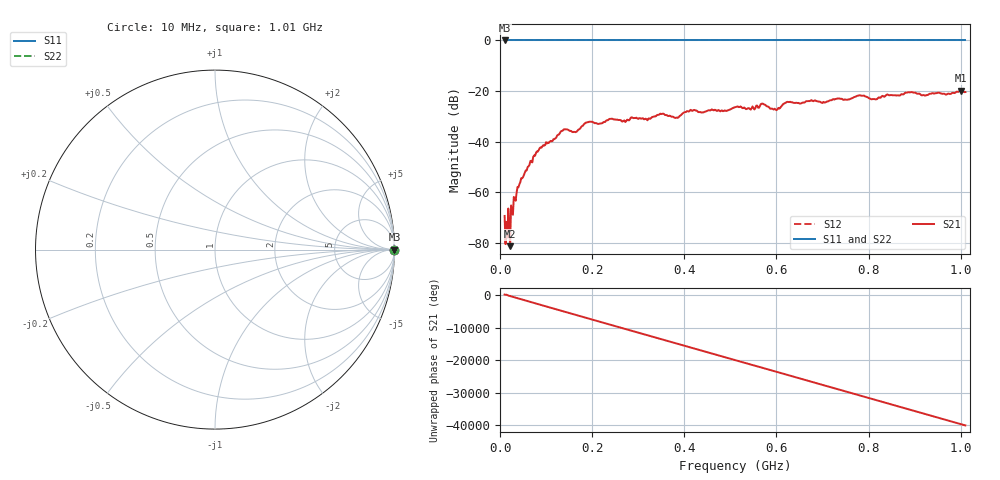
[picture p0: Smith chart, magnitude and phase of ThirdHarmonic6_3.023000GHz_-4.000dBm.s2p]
! 8/17/2025 8:42:14 AM
! C:\ANRITSUVNA\TEMP\TEMP.S2P
! CHANNEL.1
! TR.MEASUREMENT
! RAW.DATA
! RF.CORRECTION.OFF
! AVERAGING.OFF
! IF.BANDWIDTH: 5KHZ
! SWEEPTYPE:  FREQ.SWEEP(Linear)
! Reference Plane Port Info
! PORT:  PORT1  PORT2
! DISTANCE:  0  m  0  m
! TIME:  0  s  0  s
! PHASE.OFFSET:  0  deg.  0  deg.
! LOSS:  0  dB  0  dB
! REF.LOSS:  0  dB  0  dB
! REF.FREQ:  0  Hz  0  Hz
! Power Info
! POWER:  -20  dBm  -20  dBm
! EFF.POWER:  -20  dBm  -20  dBm
! SOURCE.ATTEN:  0  dB  0  dB
! TEST.ATTEN:  0  dB  0  dB
# GHZ S RI R 50.0
! FREQ.GHZ  S11RE  S11IM  S21RE  S21IM  S12RE  S12IM  S22RE  S22IM
!; PortSelection: Port_12
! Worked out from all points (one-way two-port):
!   501 points, 10 MHz to 1.01 GHz, reference 50 ohm
!   highest |S21| = -19.81 dB at 1 GHz (marker M1); lowest = -81.2 dB at 22 MHz (marker M2)
!   lowest |S11| = 0.0 dB at 10 MHz (marker M3)
!   |S11| at or under -10 dB: nowhere
!   |S22| runs from 0.0 to 0.0 dB; largest |S21 - S12| = 1.1
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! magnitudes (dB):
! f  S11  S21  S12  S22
! 10 MHz  0.0  -69.3  0.0  0.0
! 18 MHz  0.0  -66.4  0.0  0.0
! 22 MHz  0.0  -81.2  0.0  0.0
! 24 MHz  0.0  -65.2  0.0  0.0
! 28 MHz  0.0  -68.8  0.0  0.0
! 42 MHz  0.0  -56.8  0.0  0.0
! 82 MHz  0.0  -43.9  0.0  0.0
! 136 MHz  0.0  -35.7  0.0  0.0
! 162 MHz  0.0  -36.1  0.0  0.0
! 178 MHz  0.0  -33.8  0.0  0.0
! 194 MHz  0.0  -32.1  0.0  0.0
! 344 MHz  0.0  -29.4  0.0  0.0
! 384 MHz  0.0  -30.5  0.0  0.0
! 410 MHz  0.0  -28.1  0.0  0.0
! 510 MHz  0.0  -26.4  0.0  0.0
! 570 MHz  0.0  -24.9  0.0  0.0
! 598 MHz  0.0  -27.3  0.0  0.0
! 624 MHz  0.0  -24.2  0.0  0.0
! 678 MHz  0.0  -23.8  0.0  0.0
! 844 MHz  0.0  -21.6  0.0  0.0
! 1 GHz  0.0  -19.8  0.0  0.0
! 1.01 GHz  0.0  -20.4  0.0  0.0
